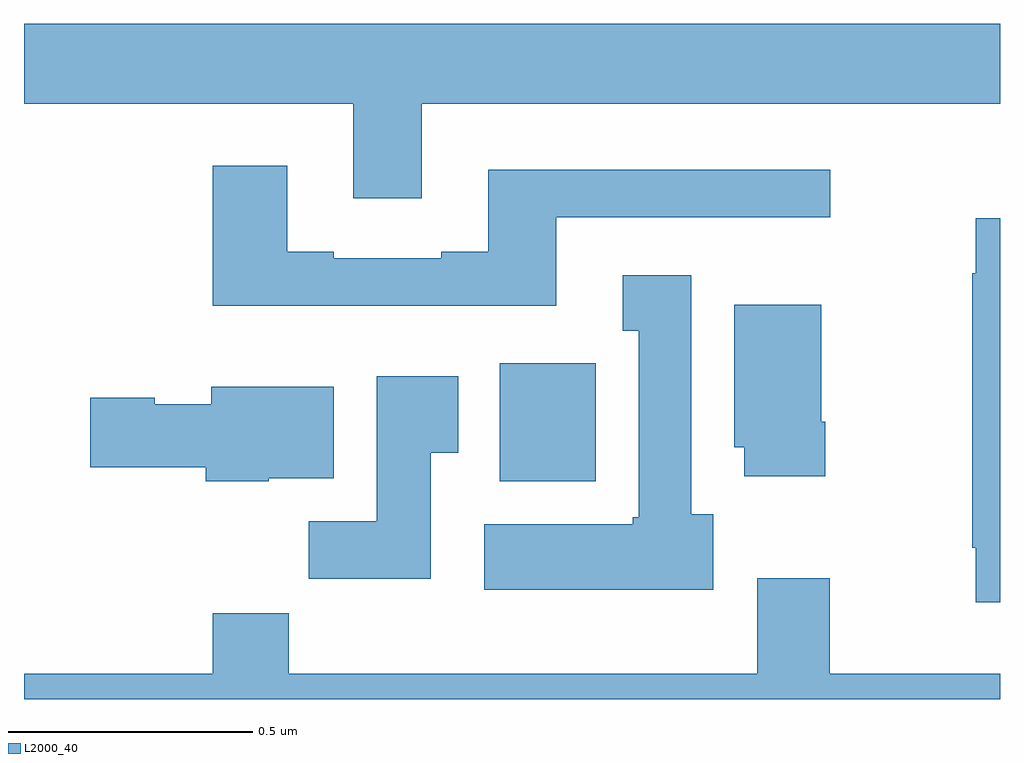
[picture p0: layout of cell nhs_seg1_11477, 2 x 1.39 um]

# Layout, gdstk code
import gdstk
lib = gdstk.Library(unit=1e-6, precision=1e-09)
def R(c, l, rs):  # rectangles x0, y0, x1, y1
    for r in rs: c.add(gdstk.rectangle(r[:2], r[2:], *l))
def P(c, l, *ps):  # polygons
    for p in ps: c.add(gdstk.Polygon(p, *l))
L2000_40 = (2000, 40)

nhs_seg1_11477 = lib.new_cell('nhs_seg1_11477')
R(nhs_seg1_11477, L2000_40, [(254.975,529.646,255.172,529.888)])
P(nhs_seg1_11477, L2000_40, [(254.815,530.42),(256,530.42),(256,530.584),(254,530.584),(254,530.42),(254.675,530.42),(254.675,530.226),(254.815,530.226)],
  [(255.091,530.187),(255.652,530.187),(255.652,530.284),(254.951,530.284),(254.951,530.116),(254.855,530.116),(254.855,530.103),(254.635,530.103),(254.635,530.116),(254.539,530.116),(254.539,530.293),(254.387,530.293),(254.387,530.006),(255.091,530.006)],
  [(256,530.185),(255.95,530.185),(255.95,530.072),(255.943,530.072),(255.943,529.51),(255.95,529.51),(255.95,529.398),(256,529.398)],
  [(255.412,529.578),(255.367,529.578),(255.367,530.068),(255.227,530.068),(255.227,529.955),(255.26,529.955),(255.26,529.572),(255.247,529.572),(255.247,529.558),(254.943,529.558),(254.943,529.424),(255.412,529.424)],
  [(255.642,529.768),(255.634,529.768),(255.634,530.008),(255.455,530.008),(255.455,529.716),(255.476,529.716),(255.476,529.656),(255.642,529.656)],
  [(254.833,529.705),(254.89,529.705),(254.89,529.861),(254.723,529.861),(254.723,529.564),(254.584,529.564),(254.584,529.446),(254.833,529.446)],
  [(254.502,529.652),(254.635,529.652),(254.635,529.84),(254.384,529.84),(254.384,529.804),(254.268,529.804),(254.268,529.817),(254.136,529.817),(254.136,529.675),(254.372,529.675),(254.372,529.646),(254.502,529.646)],
  [(256,529.252),(255.651,529.252),(255.651,529.447),(255.503,529.447),(255.503,529.252),(254.543,529.252),(254.543,529.376),(254.387,529.376),(254.387,529.252),(254,529.252),(254,529.199),(256,529.199)])

lib.write_gds('nhs_seg1_11477.gds')
